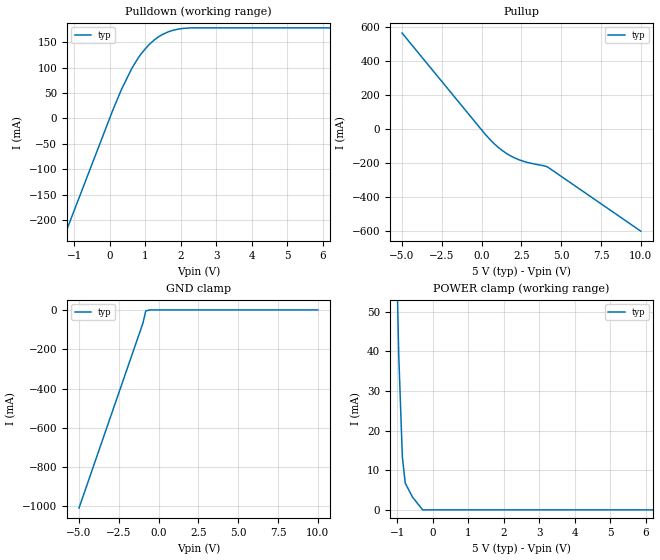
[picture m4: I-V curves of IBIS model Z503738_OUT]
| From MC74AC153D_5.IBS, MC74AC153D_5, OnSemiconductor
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| (C) COPYRIGHT 1993-2000
| MENTOR GRAPHICS CORPORATION
| ICX STANDARD LIBRARY, ICX PROJECT MODELING,
| ICX CUSTOM MODELING, ICX VENDOR MODEL
| ALL RIGHTS RESERVED.
| THE FOLLOWING ARE TRADEMARKS OR SERVICE MARKS OF
| MENTOR GRAPHICS CORPORATION:ICX (R), ICX STANDARD
| LIBRARY(R), ICX PROJECT MODELING(R), ICX CUSTOM
| MODELING(R), qualityIBIS(TM), MODELVIEWER(TM),
| AND MODELEDITOR(TM)
| ALL COPIES OF SOFTWARE, INCLUDING BUT NOT LIMITED TO
| ANY MODIFICATIONS, ENHANCEMENTS OR DERIVATIVE WORKS,
| MUST CONTAIN ALL MENTOR GRAPHICS CORPORATION'S
| NOTICES AND LEGENDS, INCLUDING THOSE EMBEDDED IN
| SOFTWARE AND THOSE AFFIXED TO SOFTWARE MEDIUM
| AND CONTAINER, AS RECEIVED FROM MENTOR GRAPHICS
| CORPORATION.
| Model Application Version 1.89 2/18/99.
[Model] Z503738_OUT
Model_type Output
Vref=0.000V
Rref=500.0ohms
Cref=50.00pF
Vmeas=2.500V
C_comp 8.000pF NA NA
| variable typ   min   max
[Voltage Range] 5.000V NA NA
[POWER Clamp Reference] 5.000V NA NA
[Pullup Reference] 5.000V NA NA
[Pulldown Reference] 0.000V NA NA
[GND Clamp Reference] 0.000V NA NA
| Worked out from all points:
|   slope of the pulldown table from 0 to 0.75 V, typ, clamps not added: 6.64 ohm
|   slope of the pullup table from 0 to 0.75 V, typ, clamps not added: 9.66 ohm
[GND Clamp]
-5V       -1.008A    NA         NA
-981.9mV  -67.03mA   NA         NA
-805.9mV  -5.122mA   NA         NA
-537.3mV  0A         NA         NA
10V       0A         NA         NA
[Pulldown]
-5V       -908.5mA   NA         NA
89.07mV   16.49mA    NA         NA
328.3mV   56.53mA    NA         NA
619.7mV   98.2mA     NA         NA
812.8mV   120.4mA    NA         NA
1.108V    145.5mA    NA         NA
1.259V    154.9mA    NA         NA
1.504V    166.2mA    NA         NA
1.661V    171.1mA    NA         NA
1.933V    176.2mA    NA         NA
2.329V    178.7mA    NA         NA
10V       178.7mA    NA         NA
[Pullup]
-5V       566.8mA    NA         NA
229mV     -29.23mA   NA         NA
1.065V    -107.4mA   NA         NA
1.566V    -141.8mA   NA         NA
2.289V    -176.6mA   NA         NA
2.871V    -194.4mA   NA         NA
4.14V     -220.9mA   NA         NA
10V       -598.8mA   NA         NA
[POWER Clamp]
-5V       2.161A     NA         NA
-1.034V   71.48mA    NA         NA
-957mV    39.15mA    NA         NA
-855mV    13.38mA    NA         NA
-774mV    6.75mA     NA         NA
-567mV    3.193mA    NA         NA
-283.5mV  0A         NA         NA
10V       0A         NA         NA
[Ramp]
| variable typ min max
dV/dt_r 2.965/253.1p NA NA
dV/dt_f 2.965/245.7p NA NA
R_load = 500.0Ohms
